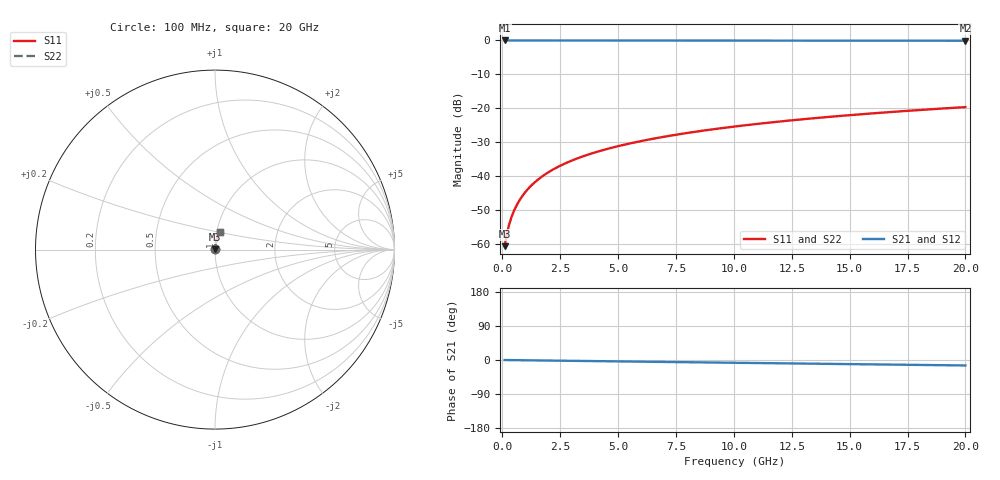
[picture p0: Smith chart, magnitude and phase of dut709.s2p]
! Touchstone file exported from HFSS 2026.1.0
!  File:  C:/ffzhzh/LocalFiles/Ansys_Project_Files/temp_train_BSMRDL_709_1783168155_43440.aedt
!  Generated:  08:30:27 PM Jul  4, 2026
!  Design:  BSMRDL
!  Project:  temp_train_BSMRDL_709_1783168155_43440
! Variables:
!  h_bsmrdl = 5.65um
!  h_ox = 20um
!  h_rdl = 5um
!  h_sub = 80um
!  h_tmrdl = 5um
!  h_tsv = 80um
!  h_via = 3um
!  l_bsmrdl = 206.35um
!  l_sub = 606.35um
!  l_tmrdl = 200um
!  m_sub = 200um
!  pitch = 43.98um
!  r_tsv = 6um
!  s_tmrdl = 10um
!  w_bsmrdl = 26.14um
!  w_sub = 500um
!  w_tmrdl = 12um
!  x_tsv_center1 = 206um
!  x_tsv_center2 = 438.49um
!  x_tsv_center3 = 650.49um
!  x_tsv_center4 = 882.98um
!  x_tsv_center5 = 1094.98um
!  x_tsv_center6 = 1327.47um
# GHz S MA R 50.000000
! Terminal data exported
! Port[1] = BSM_RDL1_1_T1
! Port[2] = BSM_RDL1_1_T2
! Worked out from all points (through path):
!   200 points, 100 MHz to 20 GHz, reference 50 ohm
!   highest |S21| = -0.01 dB at 100 MHz (marker M1); lowest = -0.1 dB at 20 GHz (marker M2)
!   group delay of S21, straight-line fit = 2 ps
!   lowest |S11| = -60.6 dB at 100 MHz (marker M3), VSWR 1.00, Z = 50.1 + j0.0659 ohm
!   |S11| at or under -10 dB: start of sweep to end of sweep
!   |S22| runs from -60.6 to -19.6 dB; largest |S21 - S12| = 9.1e-15
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0.1  0.0009329 44.8  0.9993 -0.1  0.9993 -0.1  0.0009329 44.8
! Gamma 0 0 0 0
! Port Impedance 50 0 50 0
0.2  0.001444 59.8  0.9993 -0.2  0.9993 -0.2  0.001444 59.8
0.3  0.00197 67.0  0.9992 -0.2  0.9992 -0.2  0.00197 67.0
0.4  0.002509 71.4  0.9992 -0.3  0.9992 -0.3  0.002509 71.4
0.5  0.003058 74.4  0.9992 -0.4  0.9992 -0.4  0.003058 74.4
0.6  0.003614 76.4  0.9991 -0.5  0.9991 -0.5  0.003614 76.4
0.8  0.004737 79.0  0.9991 -0.6  0.9991 -0.6  0.004737 79.0
1.1  0.006433 81.0  0.999 -0.8  0.999 -0.8  0.006433 81.0
1.3  0.007564 81.7  0.999 -1.0  0.999 -1.0  0.007564 81.7
1.5  0.008693 82.2  0.9989 -1.1  0.9989 -1.1  0.008693 82.2
1.8  0.01038 82.6  0.9988 -1.3  0.9988 -1.3  0.01038 82.6
2.1  0.01205 82.8  0.9987 -1.6  0.9987 -1.6  0.01205 82.8
2.7  0.01536 82.9  0.9985 -2.0  0.9985 -2.0  0.01536 82.9
3.5  0.01971 82.7  0.9982 -2.6  0.9982 -2.6  0.01971 82.7
4.2  0.02347 82.4  0.9979 -3.1  0.9979 -3.1  0.02347 82.4
5  0.02772 82.1  0.9976 -3.7  0.9976 -3.7  0.02772 82.1
6.8  0.03718 81.3  0.9969 -5.0  0.9969 -5.0  0.03718 81.3
8.3  0.04499 80.5  0.9963 -6.1  0.9963 -6.1  0.04499 80.5
10.1  0.05431 79.5  0.9955 -7.4  0.9955 -7.4  0.05431 79.5
13.4  0.07121 77.5  0.994 -9.7  0.994 -9.7  0.07121 77.5
16.7  0.08787 75.4  0.9922 -12.1  0.9922 -12.1  0.08788 75.4
20  0.1043 73.2  0.9903 -14.4  0.9903 -14.4  0.1043 73.2
